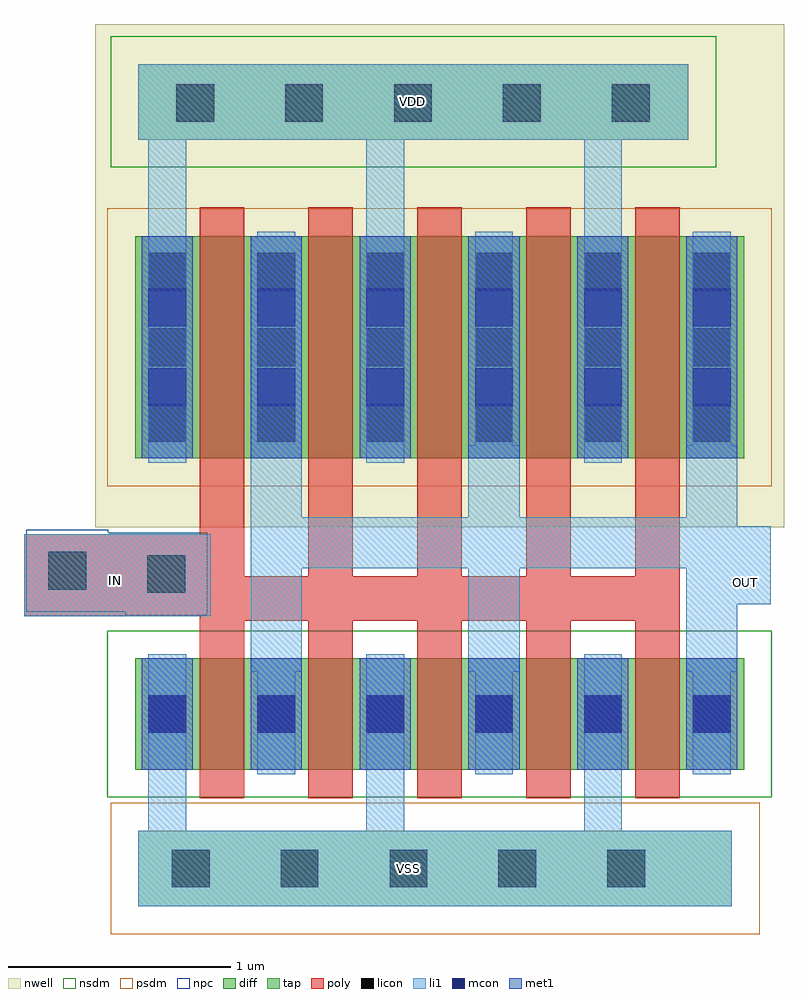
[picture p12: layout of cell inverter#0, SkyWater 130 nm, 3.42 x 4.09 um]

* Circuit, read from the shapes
.subckt inverter#0 IN OUT VDD VSS
XM1 OUT IN VSS VSS sky130_fd_pr__nfet_01v8 w=0.5 l=0.2 m=5
XM2 OUT IN VDD VDD sky130_fd_pr__pfet_01v8 w=1 l=0.2 m=5
.ends

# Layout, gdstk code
import gdstk
lib = gdstk.Library(unit=1e-6, precision=1e-09)
def R(c, l, rs):  # rectangles x0, y0, x1, y1
    for r in rs: c.add(gdstk.rectangle(r[:2], r[2:], *l))
def A(c, l, x, y, w, h, nx, ny, dx, dy):  # array of equal rectangles
    R(c, l, [(x+i*dx, y+j*dy, x+i*dx+w, y+j*dy+h) for i in range(nx) for j in range(ny)])
nwell = (64, 20)
diff = (65, 20)
tap = (65, 44)
poly = (66, 20)
licon = (66, 44)
li1 = (67, 20)
mcon = (67, 44)
met1 = (68, 20)
nsdm = (93, 44)
psdm = (94, 20)
npc = (95, 20)

sky130_fd_pr__nfet_01v8_ = lib.new_cell('sky130_fd_pr__nfet_01v8_S4GQ7J#0')
R(sky130_fd_pr__nfet_01v8_, diff, [(-0.39,-0.25,0.39,0.25)])
R(sky130_fd_pr__nfet_01v8_, poly, [(-0.1,-0.38,0.1,0.38)])
R(sky130_fd_pr__nfet_01v8_, licon, [(-0.33,-0.085,-0.16,0.085), (0.16,-0.085,0.33,0.085)])
R(sky130_fd_pr__nfet_01v8_, li1, [(-0.33,-0.27,-0.16,0.27), (0.16,-0.27,0.33,0.27)])
R(sky130_fd_pr__nfet_01v8_, mcon, [(-0.33,-0.085,-0.16,0.085), (0.16,-0.085,0.33,0.085)])
R(sky130_fd_pr__nfet_01v8_, met1, [(-0.36,-0.25,-0.13,0.25), (0.13,-0.25,0.36,0.25)])
R(sky130_fd_pr__nfet_01v8_, nsdm, [(-0.515,-0.375,0.515,0.375)])

sky130_fd_pr__pfet_01v8_ = lib.new_cell('sky130_fd_pr__pfet_01v8_ES6JQB#0')
R(sky130_fd_pr__pfet_01v8_, nwell, [(-0.57,-0.81,0.57,0.81)])
R(sky130_fd_pr__pfet_01v8_, diff, [(-0.39,-0.5,0.39,0.5)])
R(sky130_fd_pr__pfet_01v8_, poly, [(-0.1,-0.63,0.1,0.63)])
A(sky130_fd_pr__pfet_01v8_, licon, -0.33, -0.425, 0.17, 0.17, 1, 3, 0, 0.34)
A(sky130_fd_pr__pfet_01v8_, licon, 0.16, -0.425, 0.17, 0.17, 1, 3, 0, 0.34)
R(sky130_fd_pr__pfet_01v8_, li1, [(-0.33,-0.52,-0.16,0.52), (0.16,-0.52,0.33,0.52)])
R(sky130_fd_pr__pfet_01v8_, mcon, [(-0.33,-0.265,-0.16,-0.095), (0.16,-0.265,0.33,-0.095), (-0.33,0.095,-0.16,0.265), (0.16,0.095,0.33,0.265)])
R(sky130_fd_pr__pfet_01v8_, met1, [(-0.36,-0.5,-0.13,0.5), (0.13,-0.5,0.36,0.5)])
R(sky130_fd_pr__pfet_01v8_, psdm, [(-0.515,-0.625,0.515,0.625)])

inverter_0 = lib.new_cell('inverter#0')
R(inverter_0, nwell, [(1.63,0.8,1.85,1.025), (1.42,1.115,4.52,1.835)])
R(inverter_0, tap, [(1.615,-2.135,4.285,-1.795), (1.615,1.315,4.09,1.655)])
A(inverter_0, poly, 1.89, -1.02, 0.2, 0.17, 5, 1, 0.49, 0)
A(inverter_0, poly, 2.38, -0.65, 0.2, 0.53, 4, 1, 0.49, 0)
R(inverter_0, poly, [(1.89,-0.85,4.05,-0.83), (1.1,-0.83,4.05,-0.65), (1.1,-0.65,2.09,-0.46), (1.89,-0.46,2.09,-0.2), (1.96,-0.2,2.09,-0.185)])
A(inverter_0, licon, 1.765, -2.05, 0.17, 0.17, 5, 1, 0.49, 0)
A(inverter_0, licon, 1.785, 1.395, 0.17, 0.17, 5, 1, 0.49, 0)
R(inverter_0, licon, [(1.655,-0.725,1.825,-0.555), (1.21,-0.71,1.38,-0.54)])
R(inverter_0, li1, [(1.615,-2.135,4.285,-1.795), (1.66,-1.795,1.83,-1.52), (2.64,-1.795,2.81,-1.52), (3.62,-1.795,3.79,-1.525), (2.12,-1.08,2.35,-0.615), (3.1,-1.08,3.33,-0.615), (4.08,-1.08,4.31,-0.775), (1.1,-0.83,1.94,-0.46), (4.08,-0.775,4.46,-0.615), (2.12,-0.615,4.46,-0.425), (2.12,-0.425,4.31,-0.385), (2.12,-0.385,2.35,0.88), (3.1,-0.385,3.33,-0.06), (4.08,-0.385,4.31,-0.06), (1.66,0.895,1.83,1.315), (2.64,0.9,2.81,1.315), (3.62,0.9,3.79,1.315), (1.615,1.315,4.09,1.655)])
R(inverter_0, nsdm, [(1.49,1.19,4.215,1.78)])
R(inverter_0, psdm, [(1.49,-2.26,4.41,-1.67)])
R(inverter_0, npc, [(1.555,-0.825,1.925,-0.81), (1.11,-0.81,1.925,-0.455), (1.11,-0.455,1.48,-0.44)])
inverter_0.add(gdstk.Reference(sky130_fd_pr__nfet_01v8_, (2.48,-1.27)))
inverter_0.add(gdstk.Reference(sky130_fd_pr__nfet_01v8_, (1.99,-1.27)))
inverter_0.add(gdstk.Reference(sky130_fd_pr__pfet_01v8_, (1.99,0.38)))
inverter_0.add(gdstk.Reference(sky130_fd_pr__pfet_01v8_, (2.48,0.38)))
inverter_0.add(gdstk.Reference(sky130_fd_pr__pfet_01v8_, (2.97,0.38)))
inverter_0.add(gdstk.Reference(sky130_fd_pr__nfet_01v8_, (3.95,-1.27), x_reflection=True))
inverter_0.add(gdstk.Reference(sky130_fd_pr__nfet_01v8_, (2.97,-1.27)))
inverter_0.add(gdstk.Reference(sky130_fd_pr__nfet_01v8_, (3.46,-1.27), x_reflection=True))
inverter_0.add(gdstk.Reference(sky130_fd_pr__pfet_01v8_, (3.95,0.38)))
inverter_0.add(gdstk.Reference(sky130_fd_pr__pfet_01v8_, (3.46,0.38)))
inverter_0.add(gdstk.Label('VDD', (2.85,1.485), layer=67, texttype=5))
inverter_0.add(gdstk.Label('VSS', (2.83,-1.965), layer=67, texttype=5))
inverter_0.add(gdstk.Label('IN', (1.51,-0.67), layer=67, texttype=5))
inverter_0.add(gdstk.Label('OUT', (4.345,-0.68), layer=67, texttype=5))

lib.write_gds('inverter_0.gds')
